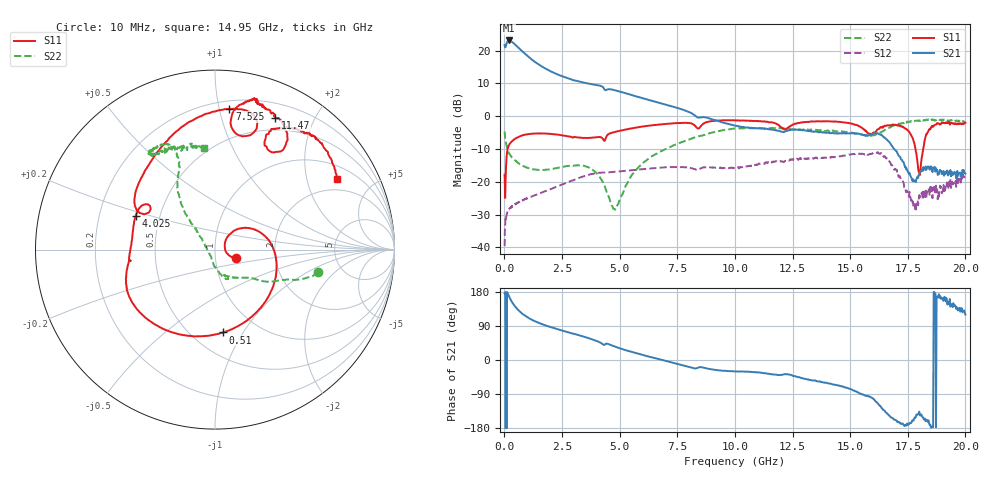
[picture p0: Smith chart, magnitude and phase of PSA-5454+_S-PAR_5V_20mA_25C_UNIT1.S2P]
!Mini-Circuits Laboratory
!S-Parameters
!Model: PSA-5454+
!Run / Lot / Date Code: NA / AP210P001-04-A#PB / 0913
!Fixture: SOLDERED TO TB-533+
!Network Analyzer: PNA-X N5242A - 423 4 ports;  Serial number: 71013
!Date: 10/22/2009 at 4:31:32 PM
!S/N: Unit# 1
!Tested with:
!Vdd=5V for Idd=20mA Temprature: 25C
# Hz  S  dB  R  50
!Frequency  S11 dB  S11 Deg  S21 dB  S21 Deg  S12 dB  S12 Deg  S22 dB  S22 Deg
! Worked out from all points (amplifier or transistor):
!   959 points, 10 MHz to 20 GHz, reference 50 ohm
!   highest |S21| = 23.1 dB at 195 MHz (marker M1)
!   |S21| within 3 dB of that: start of sweep to 727.6 MHz
!   unconditionally stable (mu >= 1): start of sweep to 256.5 MHz; 1.761 GHz to end of sweep
!   at 805 MHz: K = 0.89, MSG = 22.6 dB, |S12| = -25.6 dB
!   at 8.025 GHz: K = 1.21, MAG = 5.7 dB, |S12| = -15.7 dB
!   at 20 GHz: K = 4.24, MAG = -8.8 dB, |S12| = -18.4 dB
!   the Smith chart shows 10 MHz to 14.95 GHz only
!   S11 on the Smith chart (normalised r, x): 10 MHz: 1.27, -0.12; 510 MHz: 0.70, -0.82; 4.025 GHz: 0.36, +0.18; 7.525 GHz: 0.26, +1.07; 11.47 GHz: 0.35, +1.50; 14.95 GHz: 1.48, +3.07
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1e7  -17.86 -20.8  21.77 176.2  -39.64 92.5  -4.65 -12.1
4.5e7  -21.95 41.5  21.06 -179.8  -32.32 36.8  -7.34 -22.9
9e7  -12.98 32.3  22.07 -177.9  -30.26 31.6  -8.74 -29.2
1.4e8  -10.00 4.9  22.91 175.9  -29.05 28.0  -10.11 -34.0
1.95e8  -8.87 -17.7  23.13 168.1  -28.44 25.9  -11.16 -36.4
3.35e8  -7.60 -55.4  22.67 152.4  -27.53 25.6  -12.62 -41.9
5.1e8  -6.67 -84.5  21.60 137.9  -26.68 26.8  -13.77 -50.0
1e9  -5.51 -125.7  18.38 112.7  -25.02 32.0  -15.74 -65.2
1.375e9  -5.26 -141.0  16.33 100.9  -23.95 35.2  -16.29 -69.2
2.075e9  -5.44 -157.2  13.48 85.5  -22.07 40.2  -16.10 -69.3
3.35e9  -6.56 178.7  10.42 63.3  -18.54 39.2  -15.01 -68.1
4.025e9  -6.38 157.3  9.49 49.8  -17.31 31.8  -17.62 -79.3
4.8e9  -4.81 134.8  7.95 35.3  -16.93 26.1  -28.52 -156.2
6.675e9  -2.57 97.0  4.19 2.8  -15.73 15.9  -11.10 128.4
7.525e9  -2.08 84.2  2.50 -10.6  -15.49 9.0  -8.34 122.7
1.0025e10  -1.25 74.8  -2.89 -30.1  -15.79 4.2  -3.75 114.8
1.1475e10  -1.85 65.4  -3.99 -36.6  -14.17 1.3  -3.67 121.7
1.335e10  -1.56 50.7  -4.68 -53.8  -12.94 -13.8  -4.18 114.2
1.495e10  -2.08 30.0  -5.17 -75.3  -11.70 -31.6  -4.89 96.1
1.6675e10  -2.78 -43.0  -7.70 -145.6  -13.48 -105.7  -3.61 15.4
1.8e10  -16.86 -37.1  -17.49 -136.4  -24.05 -110.7  -1.27 -9.1
2e10  -1.98 16.5  -17.51 119.8  -18.42 110.8  -1.66 7.1
